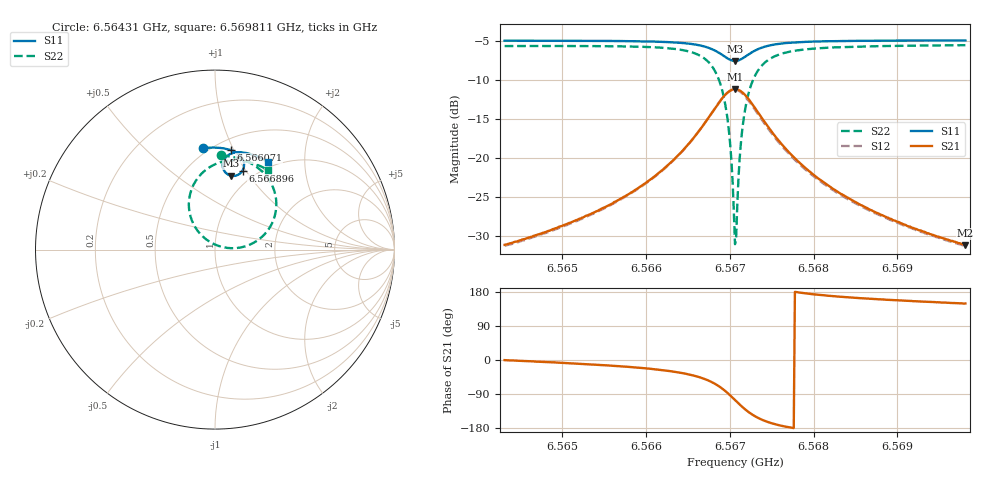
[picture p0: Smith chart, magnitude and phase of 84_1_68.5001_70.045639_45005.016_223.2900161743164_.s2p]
#  HZ  S  RI  R  50.00
! Rohde & Schwarz Vector Network Analyzer
! Rohde-Schwarz,ZNB20-2Port,1311601062101988,3.16
! Created: UTC 3/20/2024, 5:07:25 PM
! freq[Hz]  re:S11  im:S11  re:S21  im:S21  re:S12  im:S12  re:S22  im:S22
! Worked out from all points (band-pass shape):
!   401 points, 6.56431 GHz to 6.569811 GHz, reference 50 ohm
!   highest |S21| = -11.13 dB at 6.567061 GHz (marker M1); lowest = -31.2 dB at 6.569811 GHz (marker M2)
!   |S21| within 3 dB of the highest: 6.566787 GHz to 6.567336 GHz (548.7 kHz wide, 0.00836 % of centre)
!   lowest |S11| = -7.5 dB at 6.567061 GHz (marker M3), VSWR 2.46, Z = 41.2 + j41.2 ohm
!   |S11| at or under -10 dB: nowhere
!   |S22| runs from -31.1 to -5.5 dB; largest |S21 - S12| = 0.013
!   S11 on the Smith chart (normalised r, x): 6.56431 GHz: 0.46, +0.78; 6.566071 GHz: 0.60, +0.97; 6.566896 GHz: 0.86, +0.97; 6.569811 GHz: 0.92, +1.33
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6.5643104e9  -0.0664 0.5652  0.0277 -0.000161  0.0273 -0.000681  0.0331 0.5244
6.5652318e9  0.00876 0.5678  0.0407 -0.00749  0.0399 -0.00785  0.1197 0.5116
6.5660706e9  0.0865 0.555  0.0679 -0.0299  0.0669 -0.0306  0.227 0.4643
6.5661532e9  0.0953 0.5519  0.0726 -0.0348  0.0714 -0.0357  0.241 0.4541
6.5664557e9  0.1298 0.5329  0.0933 -0.0665  0.0919 -0.0681  0.2996 0.3911
6.5666757e9  0.1551 0.5019  0.1071 -0.1203  0.1048 -0.1227  0.3393 0.2879
6.5667995e9  0.1619 0.4711  0.1001 -0.1743  0.0959 -0.1775  0.3324 0.1847
6.5668958e9  0.1533 0.4399  0.0678 -0.2277  0.0606 -0.2307  0.2754 0.0844
6.5669783e9  0.1281 0.4164  0.00832 -0.2656  -0.00263 -0.2656  0.1658 0.0173
6.5670058e9  0.1163 0.412  -0.0182 -0.2715  -0.0296 -0.2698  0.1179 0.00849
6.567047e9  0.0963 0.4106  -0.0605 -0.2705  -0.0719 -0.266  0.0428 0.014
6.5670608e9  0.0896 0.4117  -0.0745 -0.2674  -0.0858 -0.2617  0.0184 0.0211
6.5670745e9  0.0832 0.4135  -0.0881 -0.263  -0.099 -0.2562  -0.00522 0.0306
6.5670883e9  0.0768 0.416  -0.1012 -0.2571  -0.1116 -0.2496  -0.0273 0.0423
6.5671296e9  0.0608 0.4272  -0.1353 -0.2331  -0.1435 -0.2234  -0.0838 0.0889
6.5671708e9  0.0497 0.4422  -0.1597 -0.2029  -0.1652 -0.1918  -0.1215 0.1454
6.5672258e9  0.0431 0.4637  -0.1769 -0.1601  -0.1787 -0.1493  -0.1439 0.222
6.5672946e9  0.0452 0.4879  -0.1793 -0.113  -0.1786 -0.1036  -0.1398 0.304
6.5675421e9  0.0836 0.5322  -0.1358 -0.0248  -0.1328 -0.0208  -0.0416 0.4514
6.5679822e9  0.1446 0.5422  -0.079 0.0087  -0.0771 0.00983  0.0881 0.4973
6.5689036e9  0.2296 0.5209  -0.0381 0.0148  -0.0373 0.0152  0.2181 0.4788
6.5698112e9  0.2962 0.488  -0.0237 0.0142  -0.0231 0.0142  0.2965 0.4419
